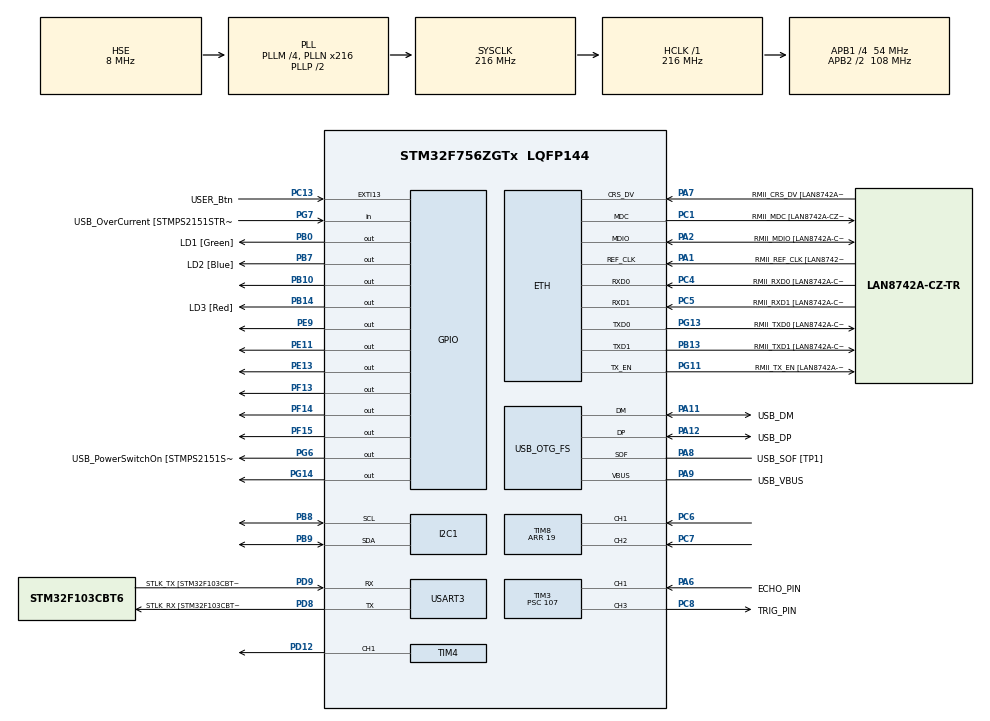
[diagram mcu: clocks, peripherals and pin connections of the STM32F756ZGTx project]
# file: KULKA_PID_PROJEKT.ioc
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ETH.MediaInterface=HAL_ETH_RMII_MODE
ETH.PHY_Name=LAN8742A_PHY_ADDRESS
ETH.PHY_Value=0
ETH.PhyAddress=0
I2C1.Timing=0x20404768
Mcu.Family=STM32F7
Mcu.Name=STM32F756ZGTx
Mcu.Package=LQFP144
NVIC.EXTI15_10_IRQn=true\:0\:0\:false\:false\:true\:true\:true\:true
NVIC.PriorityGroup=NVIC_PRIORITYGROUP_4
NVIC.TIM1_UP_TIM10_IRQn=true\:0\:0\:false\:false\:true\:true\:true\:true
NVIC.TIM3_IRQn=true\:0\:0\:false\:false\:true\:true\:true\:true
PA1.GPIO_Label=RMII_REF_CLK [LAN8742A-CZ-TR_REFCLK0]
PA1.Mode=RMII
PA1.Signal=ETH_REF_CLK
PA10.GPIO_Label=USB_ID
PA10.Signal=USB_OTG_FS_ID
PA11.GPIO_Label=USB_DM
PA11.Mode=Device_Only
PA11.Signal=USB_OTG_FS_DM
PA12.GPIO_Label=USB_DP
PA12.Mode=Device_Only
PA12.Signal=USB_OTG_FS_DP
PA13.GPIO_Label=TMS
PA13.Mode=Serial_Wire
PA13.Signal=SYS_JTMS-SWDIO
PA14.GPIO_Label=TCK
PA14.Mode=Serial_Wire
PA14.Signal=SYS_JTCK-SWCLK
PA2.GPIO_Label=RMII_MDIO [LAN8742A-CZ-TR_MDIO]
PA2.Mode=RMII
PA2.Signal=ETH_MDIO
PA6.GPIO_Label=ECHO_PIN
PA6.Signal=S_TIM3_CH1
PA7.GPIO_Label=RMII_CRS_DV [LAN8742A-CZ-TR_CRS_DV]
PA7.Mode=RMII
PA7.Signal=ETH_CRS_DV
PA8.GPIO_Label=USB_SOF [TP1]
PA8.Mode=Activate_SOF_FS
PA8.Signal=USB_OTG_FS_SOF
PA9.GPIO_Label=USB_VBUS
PA9.Mode=Activate_VBUS
PA9.Signal=USB_OTG_FS_VBUS
PB0.GPIO_Label=LD1 [Green]
PB0.Signal=GPIO_Output
PB10.Signal=GPIO_Output
PB13.GPIO_Label=RMII_TXD1 [LAN8742A-CZ-TR_TXD1]
PB13.Mode=RMII
PB13.Signal=ETH_TXD1
PB14.GPIO_Label=LD3 [Red]
PB14.Signal=GPIO_Output
PB3.GPIO_Label=SW0
PB3.Signal=SYS_JTDO-SWO
PB7.GPIO_Label=LD2 [Blue]
PB7.Signal=GPIO_Output
PB8.Mode=I2C
PB8.Signal=I2C1_SCL
PB9.Mode=I2C
PB9.Signal=I2C1_SDA
PC1.GPIO_Label=RMII_MDC [LAN8742A-CZ-TR_MDC]
PC1.Mode=RMII
PC1.Signal=ETH_MDC
PC13.GPIO_Label=USER_Btn
PC13.Signal=GPXTI13
PC14/OSC32_IN.Mode=LSE-External-Oscillator
PC14/OSC32_IN.Signal=RCC_OSC32_IN
PC15/OSC32_OUT.Mode=LSE-External-Oscillator
PC15/OSC32_OUT.Signal=RCC_OSC32_OUT
PC4.GPIO_Label=RMII_RXD0 [LAN8742A-CZ-TR_RXD0]
PC4.Mode=RMII
PC4.Signal=ETH_RXD0
PC5.GPIO_Label=RMII_RXD1 [LAN8742A-CZ-TR_RXD1]
PC5.Mode=RMII
PC5.Signal=ETH_RXD1
PC6.Signal=S_TIM8_CH1
PC7.Signal=S_TIM8_CH2
PC8.GPIO_Label=TRIG_PIN
PC8.Signal=S_TIM3_CH3
PD12.Signal=S_TIM4_CH1
PD8.GPIO_Label=STLK_RX [STM32F103CBT6_PA3]
PD8.Mode=Asynchronous
PD8.Signal=USART3_TX
PD9.GPIO_Label=STLK_TX [STM32F103CBT6_PA2]
PD9.Mode=Asynchronous
PD9.Signal=USART3_RX
PE11.Signal=GPIO_Output
PE13.GPIO_Speed=GPIO_SPEED_FREQ_HIGH
PE13.Signal=GPIO_Output
PE9.Signal=GPIO_Output
PF13.Signal=GPIO_Output
PF14.Signal=GPIO_Output
PF15.GPIO_Speed=GPIO_SPEED_FREQ_HIGH
PF15.Signal=GPIO_Output
PG11.GPIO_Label=RMII_TX_EN [LAN8742A-CZ-TR_TXEN]
PG11.Mode=RMII
PG11.Signal=ETH_TX_EN
PG13.GPIO_Label=RMII_TXD0 [LAN8742A-CZ-TR_TXD0]
PG13.Mode=RMII
PG13.Signal=ETH_TXD0
PG14.GPIO_Speed=GPIO_SPEED_FREQ_HIGH
PG14.Signal=GPIO_Output
PG6.GPIO_Label=USB_PowerSwitchOn [STMPS2151STR_EN]
PG6.Signal=GPIO_Output
PG7.GPIO_Label=USB_OverCurrent [STMPS2151STR_FAULT]
PG7.Signal=GPIO_Input
PH0/OSC_IN.GPIO_Label=MCO [STM32F103CBT6_PA8]
PH0/OSC_IN.Mode=HSE-External-Oscillator
PH0/OSC_IN.Signal=RCC_OSC_IN
PH1/OSC_OUT.Mode=HSE-External-Oscillator
PH1/OSC_OUT.Signal=RCC_OSC_OUT
ProjectManager.HeapSize=0x200
ProjectManager.StackSize=0x400
ProjectManager.TargetToolchain=STM32CubeIDE
RCC.48MHZClocksFreq_Value=24000000
RCC.AHBFreq_Value=216000000
RCC.APB1CLKDivider=RCC_HCLK_DIV4
RCC.APB1Freq_Value=54000000
RCC.APB1TimFreq_Value=108000000
RCC.APB2CLKDivider=RCC_HCLK_DIV2
RCC.APB2Freq_Value=108000000
RCC.APB2TimFreq_Value=216000000
RCC.CortexFreq_Value=216000000
RCC.HCLKFreq_Value=216000000
RCC.HSE_VALUE=8000000
RCC.HSI_VALUE=16000000
RCC.PLLM=4
RCC.PLLMUL=RCC_PLL_MUL9
RCC.PLLN=216
RCC.PLLQ=9
RCC.PRESCALERUSB=RCC_USBCLKSOURCE_PLL_DIV1_5
RCC.SYSCLKFreq_VALUE=216000000
RCC.SYSCLKSource=RCC_SYSCLKSOURCE_PLLCLK
RCC.SYSCLKSourceVirtual=RCC_SYSCLKSOURCE_PLLCLK
RCC.USBFreq_Value=48000000
RCC.VCOOutputFreq_Value=432000000
SH.S_TIM3_CH1.0=TIM3_CH1,Input_Capture1_from_TI1
SH.S_TIM3_CH3.0=TIM3_CH3,PWM Generation3 CH3
SH.S_TIM4_CH1.0=TIM4_CH1,PWM Generation1 CH1
SH.S_TIM8_CH1.0=TIM8_CH1,Encoder_Interface
SH.S_TIM8_CH2.0=TIM8_CH2,Encoder_Interface
TIM3.Channel-Input_Capture1_from_TI1=TIM_CHANNEL_1
TIM3.Channel-Input_Capture2_from_TI1_63=TIM_CHANNEL_2
TIM3.Channel-PWM\ Generation3\ CH3=TIM_CHANNEL_3
TIM3.ICPolarity_CH2=TIM_INPUTCHANNELPOLARITY_FALLING
TIM3.OCFastMode_PWM-PWM\ Generation3\ CH3=TIM_OCFAST_ENABLE
TIM3.Period=39999
TIM3.Prescaler=107
TIM3.Pulse-PWM\ Generation3\ CH3=10
TIM4.Channel-PWM\ Generation1\ CH1=TIM_CHANNEL_1
TIM4.Channel-PWM\ Generation2\ CH2=TIM_CHANNEL_2
TIM4.Period=19999
TIM4.Prescaler=215
TIM4.Pulse-PWM\ Generation1\ CH1=0
TIM8.Period=19
TIM9.Period=65535-1
TIM9.Prescaler=215
USART3.VirtualMode-Asynchronous=VM_ASYNC
USB_OTG_FS.VirtualMode=Device_Only
VP_TIM10_VS_ClockSourceINT.Mode=Enable_Timer
VP_TIM1_VS_ClockSourceINT.Mode=Internal
VP_TIM3_VS_ClockSourceINT.Mode=Internal
VP_TIM3_VS_indirect_ch1.Mode=Input_Capture2_from_TI1_63
VP_TIM4_VS_ClockSourceINT.Mode=Internal
VP_TIM9_VS_ClockSourceINT.Mode=Internal
board=NUCLEO-F756ZG

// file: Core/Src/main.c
/* USER CODE BEGIN Header */
/**
  ******************************************************************************
  * @file           : main.c
  * @brief          : Main program body
  ******************************************************************************
  * @attention
  *
  * Copyright (c) 2025 STMicroelectronics.
  * All rights reserved.
  *
  * This software is licensed under terms that can be found in the LICENSE file
  * in the root directory of this software component.
  * If no LICENSE file comes with this software, it is provided AS-IS.
  *
  ******************************************************************************
  */
/* USER CODE END Header */
#include "main.h"
#include "eth.h"
#include "i2c.h"
#include "tim.h"
#include "usart.h"
#include "usb_otg.h"
#include "gpio.h"

/* USER CODE BEGIN Includes */

#include "stdlib.h"
#include "stdio.h"
#include "string.h"

#include "HCSR04.h"
#include "SG90.h"
#include "PID.h"
#include "LCD.h"
#include "Enkoder.h"

/* USER CODE END Includes */

/* USER CODE BEGIN PTD */

HCSR04_Sensor_HandleType HCSR04_Sensor;
SG90_Servo_HandleType SG90_Servo;
PID_HandleType PID_Controller;
LCD_Screen_HandleType LCD_Screen;
Encoder_HandleType Encoder;
/* USER CODE END PTD */

/* USER CODE BEGIN PV */

/* USER CODE END PD */

/* Private variables ---------------------------------------------------------*/

/* USER CODE BEGIN PV */

float distance;
_Bool xStartStopProgram = 1;
float PID_Sygnal;

int row = 0;
int col = 0;

int enkoder_wartosc = 0;
int poprzednia = 0;

float DDDistance_setpoint;

/* USER CODE END PV */

void SystemClock_Config(void);

/* USER CODE BEGIN 0 */

// START/STOP programu za pomocą USER BUTTON

void HAL_GPIO_EXTI_Callback(uint16_t GPIO_Pin)
{

	if(GPIO_Pin == USER_Btn_Pin){

		char tx_buffer[64];

		if(xStartStopProgram == 0){
			xStartStopProgram = 1;
			int len = sprintf(tx_buffer, "Uruchomiono Program. Stan: %d\r\n", xStartStopProgram);
			HAL_UART_Transmit(&huart3, tx_buffer, len, 100);
		}
		else if(xStartStopProgram == 1){
			xStartStopProgram = 0;
			int len = sprintf(tx_buffer, "Zatrzymano Program. Stan: %d\r\n", xStartStopProgram);
			HAL_UART_Transmit(&huart3, tx_buffer, len, 100);
		}
	}
}

// PRÓBKOWANIE 100 ms (10Hz) odległości piłki od czujnika

void HAL_TIM_PeriodElapsedCallback(TIM_HandleTypeDef *htim)
{

	if(htim->Instance == TIM1 && xStartStopProgram == 1){

		distance = 100 * HCSR04_Get_Distance(&HCSR04_Sensor);

		Encoder_GetValue(&Encoder);

		if(Encoder.Encoder_Change) {
		    PID_Set_DistanceSetPoint(&PID_Controller, Encoder.value);
		}

		PID_Controller_Calculate(&HCSR04_Sensor, &SG90_Servo, &PID_Controller);

		SG90_Set_Angle(&SG90_Servo);

		PID_Sygnal = PID_Controller.PID_total;

		DDDistance_setpoint = PID_Controller.distance_setpoint;

		  enkoder_wartosc = Encoder.value;
		  poprzednia = Encoder.last_value;

//		UART_SEND_POSITION();
	}
}

void LCD_MAIN_CONTROL(){

	  lcd_put_cur(0, 0);
	  lcd_send_string("Wartosc ref: ");
	  int war_referencyjna_int;
	  char war_referencyjna_str[10];
	  war_referencyjna_int =  (int)(100 * PID_Controller.distance_setpoint);
	  sprintf(war_referencyjna_str, "%d", war_referencyjna_int);
	  lcd_send_string(war_referencyjna_str);

}

/*
void UART_SEND_POSITION(){

	  float pid_value = distance;

	  		int val_int = (int)pid_value;
	  		int val_frac = (int)((pid_value - val_int) * 100);
	  		if (val_frac < 0) val_frac *= -1;

	  		char buffer[20];
	  		int len = sprintf(buffer, "%d.%02d\r\n", val_int, val_frac);

	  		HAL_UART_Transmit(&huart3, (uint8_t*)buffer, len, 100);
	  		HAL_Delay(100);

}

*/

void UART_SEND_POSITION() {
    char tx_buffer[32];
    int len;

    // Skalowanie do cm dla wizualizacji
    float pos_cm = HCSR04_Get_Distance(&HCSR04_Sensor) * 100.0f;
    float set_cm = PID_Controller.distance_setpoint * 100.0f;
    float err_cm = PID_Controller.error * 100.0f;

    // Znak startu pakietu
    HAL_UART_Transmit(&huart3, (uint8_t*)"S\n", 2, 10);

    // Pozycja
    len = sprintf(tx_buffer, "%d.%02d\n", (int)pos_cm, (int)(fabsf(pos_cm - (int)pos_cm) * 100.0f));
    HAL_UART_Transmit(&huart3, (uint8_t*)tx_buffer, len, 10);

    // Setpoint
    len = sprintf(tx_buffer, "%d.%02d\n", (int)set_cm, (int)(fabsf(set_cm - (int)set_cm) * 100.0f));
    HAL_UART_Transmit(&huart3, (uint8_t*)tx_buffer, len, 10);

    // Uchyb (Error)
    if (err_cm < 0 && (int)err_cm == 0) {
        len = sprintf(tx_buffer, "-0.%02d\n", (int)(fabsf(err_cm) * 100.0f));
    } else {
        len = sprintf(tx_buffer, "%d.%02d\n", (int)err_cm, (int)(fabsf(err_cm - (int)err_cm) * 100.0f));
    }
    HAL_UART_Transmit(&huart3, (uint8_t*)tx_buffer, len, 10);
}

/* USER CODE END PV */

/* Private function prototypes -----------------------------------------------*/
void SystemClock_Config(void);
/* USER CODE BEGIN PFP */

/* USER CODE END PFP */

/* Private user code ---------------------------------------------------------*/
/* USER CODE BEGIN 0 */

/* USER CODE END 0 */

int main(void)
{

  /* MCU Configuration--------------------------------------------------------*/

  /* Reset of all peripherals, Initializes the Flash interface and the Systick. */
  HAL_Init();

  /* Configure the system clock */
  SystemClock_Config();

  /* Initialize all configured peripherals */
  MX_GPIO_Init();
  MX_ETH_Init();
  MX_I2C1_Init();
  MX_USART3_UART_Init();
  MX_USB_OTG_FS_PCD_Init();
  MX_TIM3_Init();
  MX_TIM10_Init();
  MX_TIM4_Init();
  MX_TIM1_Init();
  MX_TIM9_Init();
  MX_TIM8_Init();
  /* USER CODE BEGIN 2 */

  HAL_TIM_IC_Start(&htim3, TIM_CHANNEL_1);		// Odczytywanie zbocza narastającego z Echo
  HAL_TIM_IC_Start(&htim3, TIM_CHANNEL_2);		// Odczytywanie zbocza opadającego z Echo
  HAL_TIM_PWM_Start(&htim3, TIM_CHANNEL_3);		// Sygnał Trig do czujnika
  HAL_TIM_Encoder_Start(&htim8, TIM_CHANNEL_ALL); // Start Encodera

  HAL_TIM_Base_Start_IT(&htim1);				// stałe próbkowanie 25 Hz

  HAL_TIM_PWM_Start(&htim4, TIM_CHANNEL_1);   	// SYGNAL PWM DO STEROWANIA SERWO zakres PWM max. (350 - 1000)

  HCSR04_Init(&HCSR04_Sensor, &htim3, TIM_CHANNEL_3, &htim3, TIM_CHANNEL_1, &htim3, TIM_CHANNEL_2);		// inicjalizacja czujnika
  SG90_Init(&SG90_Servo, &htim4, TIM_CHANNEL_1);														// inicjalizacja servonapędu
  PID_Controller_Init(&PID_Controller);
  Encoder_Init(&Encoder, &htim8, TIM_CHANNEL_ALL);

  HAL_TIM_Base_Start(&htim9);					// Timer pod ekran LCD

  lcd_init ();

  /* USER CODE END 2 */

  /* Infinite loop */
  /* USER CODE BEGIN WHILE */

  while (1)
  {

	  UART_SEND_POSITION();

	  LCD_MAIN_CONTROL();
	  HAL_Delay(100);
	  lcd_clear();

    /* USER CODE END WHILE */

  }
}

void SystemClock_Config(void)
{
  RCC_OscInitTypeDef RCC_OscInitStruct = {0};
  RCC_ClkInitTypeDef RCC_ClkInitStruct = {0};

  /** Configure LSE Drive Capability
  */
  HAL_PWR_EnableBkUpAccess();

  /** Configure the main internal regulator output voltage
  */
  __HAL_RCC_PWR_CLK_ENABLE();
  __HAL_PWR_VOLTAGESCALING_CONFIG(PWR_REGULATOR_VOLTAGE_SCALE1);

  /** Initializes the RCC Oscillators according to the specified parameters
  * in the RCC_OscInitTypeDef structure.
  */
  RCC_OscInitStruct.OscillatorType = RCC_OSCILLATORTYPE_HSE;
  RCC_OscInitStruct.HSEState = RCC_HSE_ON;
  RCC_OscInitStruct.PLL.PLLState = RCC_PLL_ON;
  RCC_OscInitStruct.PLL.PLLSource = RCC_PLLSOURCE_HSE;
  RCC_OscInitStruct.PLL.PLLM = 4;
  RCC_OscInitStruct.PLL.PLLN = 216;
  RCC_OscInitStruct.PLL.PLLP = RCC_PLLP_DIV2;
  RCC_OscInitStruct.PLL.PLLQ = 9;
  if (HAL_RCC_OscConfig(&RCC_OscInitStruct) != HAL_OK)
  {
    Error_Handler();
  }

  /** Activate the Over-Drive mode
  */
  if (HAL_PWREx_EnableOverDrive() != HAL_OK)
  {
    Error_Handler();
  }

  /** Initializes the CPU, AHB and APB buses clocks
  */
  RCC_ClkInitStruct.ClockType = RCC_CLOCKTYPE_HCLK|RCC_CLOCKTYPE_SYSCLK
                              |RCC_CLOCKTYPE_PCLK1|RCC_CLOCKTYPE_PCLK2;
  RCC_ClkInitStruct.SYSCLKSource = RCC_SYSCLKSOURCE_PLLCLK;
  RCC_ClkInitStruct.AHBCLKDivider = RCC_SYSCLK_DIV1;
  RCC_ClkInitStruct.APB1CLKDivider = RCC_HCLK_DIV4;
  RCC_ClkInitStruct.APB2CLKDivider = RCC_HCLK_DIV2;

  if (HAL_RCC_ClockConfig(&RCC_ClkInitStruct, FLASH_LATENCY_7) != HAL_OK)
  {
    Error_Handler();
  }
}

void Error_Handler(void)
{
  __disable_irq();
  while (1)
  {
  }
}
